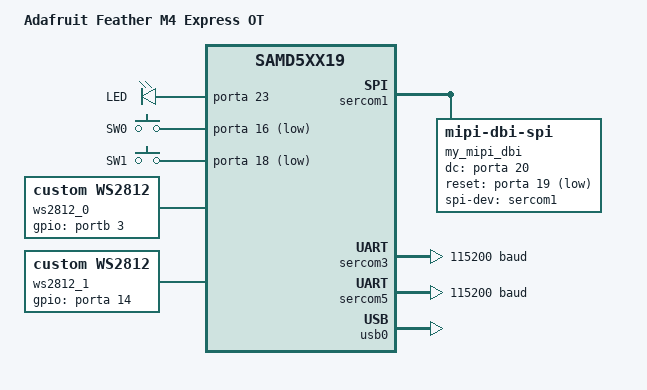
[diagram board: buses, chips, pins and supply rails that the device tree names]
/*
 * Copyright (c) 2020 Google LLC.
 * Copyright (c) 2024 Daikin Comfort Technologies North America, Inc.
 *
 * SPDX-License-Identifier: Apache-2.0
 */

/dts-v1/;
#include <atmel/samd5xx19.dtsi>
#include <zephyr/dt-bindings/display/panel.h>
#include <zephyr/dt-bindings/led/led.h>
#include <zephyr/dt-bindings/input/input-event-codes.h>
#include "feather_m4_zephyr_ot-pinctrl.dtsi"

/ {
	model = "Adafruit Feather M4 Express OT";
	compatible = "adafruit,feather_m4_zephyr_ot";

	chosen {
		zephyr,console = &sercom5;
		zephyr,shell-uart = &sercom5;
		zephyr,sram = &sram0;
		zephyr,flash = &flash0;
		zephyr,code-partition = &code_partition;
		zephyr,display = &gc9x01x_lcd;
	};

	/* These aliases are provided for compatibility with samples */
	aliases {
		led0 = &led0;
		led-strip0 = &ws2812_0;
		led-strip1 = &ws2812_1;
		sw0 = &user_button0;
		sw1 = &user_button1;
		pwm-0 = &tcc0;
		pwm-1 = &tc0;
	};

	leds {
		compatible = "gpio-leds";

		/* the red LED on the Feather M4 */
		led0: led_0 {
			gpios = <&porta 23 0>;
			label = "LED";
		};
	};

	buttons {
		compatible = "gpio-keys";

		user_button0: button_0 {
			gpios = <&porta 16 (GPIO_PULL_UP | GPIO_ACTIVE_LOW)>;
			label = "SW0";
			zephyr,code = <INPUT_KEY_1>;
		}; 
	
		user_button1: button_1 {
			gpios = <&porta 18 (GPIO_PULL_UP | GPIO_ACTIVE_LOW)>;
			label = "SW1";
			zephyr,code = <INPUT_KEY_2>;
		};
	}; 

   	ws2812_0: ws2812_0 {
		status = "okay";
        compatible = "custom,ws2812";
        gpios = <&portb 3 GPIO_ACTIVE_HIGH>;   /* PB03 */
        num_leds = <1>;
    };

    ws2812_1: ws2812_1 {
		status = "okay";
        compatible = "custom,ws2812";
        gpios = <&porta 14 GPIO_ACTIVE_HIGH>;   /* PA14 */
        num_leds = <2>;
    };
};

&cpu0 {
	clock-frequency = <120000000>;
};

/* SPI interface to IPS display and the Mikroe socket
 *
 *	SCK 		PA17		___ DOPO = 2
 *	MOSI		PB23 		_|
 *	MISO 		PB22 		DIPO = 2
 *
 * 	Chip Selects
 * 	CARD_CS		PA05 		SDCard on IPS display
 * 	TFT_CS		PA21		IPS display
 *	CS			PA06		Mikroe Click CS 
 */
&sercom1 {
	status = "okay";
	compatible = "atmel,sam0-spi";
	dipo = <2>;
	dopo = <2>;
	#address-cells = <1>;
	#size-cells = <0>;
	pinctrl-0 = <&sercom1_spi_default>;
	pinctrl-names = "default";

    /* Use SPI SS pin as GPIO CS */
    cs-gpios = <&porta 21 GPIO_ACTIVE_LOW>;

    my_mipi_dbi {
        compatible = "zephyr,mipi-dbi-spi";
        status = "okay";
        #address-cells = <1>;
        #size-cells = <0>;
        spi-dev = <&sercom1>;
        dc-gpios = <&porta 20 GPIO_ACTIVE_HIGH>;
        reset-gpios = <&porta 19 GPIO_ACTIVE_LOW>;

        gc9x01x_lcd: gc9x01x_lcd@0 {
            compatible = "galaxycore,gc9x01x";
            reg = <0>;
            mipi-max-frequency = <20000000>;
            pixel-format = <PANEL_PIXEL_FORMAT_RGB_565>;
            width = <240>;
            height = <240>;
            display-inversion;
        };
    };

};

/* I2C interface to the Mikroe socket
 *
 *	SCL			PA13 
 *	SDA 		PA12
 */
&sercom2 {
    status = "disabled";
    compatible = "atmel,sam0-i2c";
    clock-frequency = <I2C_BITRATE_FAST>;
    #address-cells = <1>;
    #size-cells = <0>;

    pinctrl-0 = <&sercom2_i2c_default>;
    pinctrl-names = "default";
};

/* UART interface to the RNBD451PE Bluetooth OR ESP32-C3
 *
 *	TX			PA22 
 *	RX 			PA23 
 */
&sercom3 {
	status = "okay";
	compatible = "atmel,sam0-uart";
	current-speed = <115200>;
	rxpo = <1>;
	txpo = <0>;
	pinctrl-0 = <&sercom3_uart_default>;
	pinctrl-names = "default";	
};

/* UART interface to the Mikroe socket
 *
 *	TX 			PB16 
 *	RX 			PB17 
 */
&sercom5 {
	status = "okay";
	compatible = "atmel,sam0-uart";
	current-speed = <115200>;
	rxpo = <1>;
	txpo = <0>;
	pinctrl-0 = <&sercom5_uart_default>;
	pinctrl-names = "default";
};

/*
&tcc0 {
	status = "disabled";
	compatible = "atmel,sam0-tcc-pwm";
	prescaler = <8>;
	#pwm-cells = <2>;
	pinctrl-0 = <&pwm0_default>;
	pinctrl-names = "default";
};

&tc0 {
	status = "disabled";
	compatible = "atmel,sam0-tc-pwm";
	prescaler = <1024>;
	#pwm-cells = <2>;
	channels = <2>;
	counter-size = <16>;
	pinctrl-0 = <&tc0_default>;
	pinctrl-names = "default";
};
*/

zephyr_udc0: &usb0 {
	status = "okay";
	pinctrl-0 = <&usb_dc_default>;
	pinctrl-names = "default";
};

&dmac {
	status = "okay";
};

&flash0 {
	partitions {
		compatible = "fixed-partitions";
		#address-cells = <1>;
		#size-cells = <1>;

		boot_partition: partition@0 {
			label = "uf2";
			reg = <0x00000000 DT_SIZE_K(16)>;
			read-only;
		};

		code_partition: partition@4000 {
			label = "code";
			reg = <0x4000 DT_SIZE_K(512-16-16)>;
			read-only;
		};

		/*
		 * The final 16 KiB is reserved for the application.
		 * Storage partition will be used by FCB/LittleFS/NVS
		 * if enabled.
		 */
		storage_partition: partition@7c000 {
			label = "storage";
			reg = <0x7c000 DT_SIZE_K(16)>;
		};
	};
};
